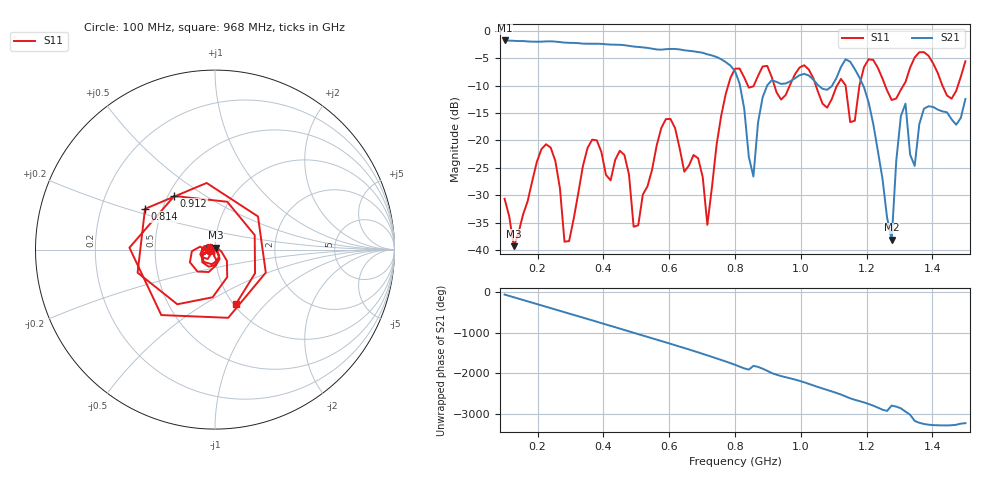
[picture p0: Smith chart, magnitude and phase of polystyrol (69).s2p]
! NanoVNA-App
! Date: 2025-09-26 09:42:25
! Start: 100MHz Stop: 1,5GHz Points: 101
! S-Parameter data: F S11 S21 S12 S22
# Hz S RI R 50
!  Frequency  S11_Real  S11_Imag  S21_Real  S21_Imag  S12_Real  S12_Imag  S22_Real  S22_Imag
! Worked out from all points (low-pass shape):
!   101 points, 100 MHz to 1.5 GHz, reference 50 ohm
!   highest |S21| = -1.79 dB at 100 MHz (marker M1); lowest = -38.1 dB at 1.276 GHz (marker M2)
!   |S21| within 3 dB of the highest: start of sweep to 743.3 MHz
!   lowest |S11| = -39.3 dB at 128 MHz (marker M3), VSWR 1.02, Z = 50.3 + j1.05 ohm
!   |S11| at or under -10 dB: start of sweep to 779.4 MHz; 1.046 GHz to 1.11 GHz (64.76 MHz wide, 6.01 % of centre); 1.256 GHz to 1.312 GHz (55.39 MHz wide, 4.31 % of centre)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
!   S12 and S22 are empty: the file has one direction only
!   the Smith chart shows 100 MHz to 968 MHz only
!   S11 on the Smith chart (normalised r, x): 100 MHz: 0.94, -0.01; 814 MHz: 0.40, +0.23; 912 MHz: 0.54, +0.37; 968 MHz: 1.03, -0.69
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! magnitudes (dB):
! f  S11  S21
! 100 MHz  -30.7  -1.8
! 128 MHz  -39.3  -1.9
! 212 MHz  -21.6  -2.0
! 282 MHz  -38.5  -2.2
! 338 MHz  -24.6  -2.4
! 464 MHz  -22.7  -2.6
! 506 MHz  -35.5  -3.0
! 576 MHz  -17.7  -3.5
! 688 MHz  -23.3  -3.9
! 716 MHz  -35.4  -4.3
! 800 MHz  -6.9  -7.4
! 814 MHz  -6.9  -9.7
! 856 MHz  -10.2  -26.6
! 912 MHz  -8.5  -9.0
! 968 MHz  -9.8  -9.2
! 1.038 GHz  -8.7  -8.9
! 1.178 GHz  -10.0  -8.5
! 1.276 GHz  -12.6  -38.1
! 1.318 GHz  -9.4  -13.3
! 1.346 GHz  -4.9  -24.7
! 1.374 GHz  -3.9  -14.2
! 1.5 GHz  -5.6  -12.5
